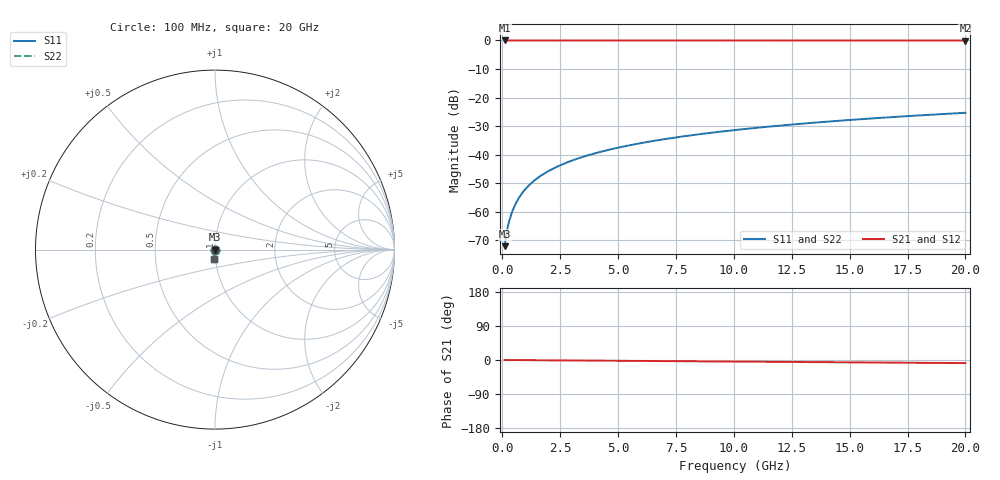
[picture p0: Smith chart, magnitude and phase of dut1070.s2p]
! Touchstone file exported from HFSS 2026.1.0
!  File:  C:/ffzhzh/LocalFiles/Ansys_Project_Files/temp_train_TSV_1070_1783189911_22436.aedt
!  Generated:  02:33:13 AM Jul  5, 2026
!  Design:  TSV
!  Project:  temp_train_TSV_1070_1783189911_22436
! Variables:
!  h_bsmrdl = 2um
!  h_ox = 20um
!  h_rdl = 5um
!  h_sub = 80.2um
!  h_tmrdl = 5um
!  h_tsv = 80.2um
!  h_via = 3um
!  l_bsmrdl = 300um
!  l_sub = 422.48um
!  l_tmrdl = 200um
!  m_sub = 200um
!  pitch = 32.34um
!  r_tsv = 11.24um
!  s_tmrdl = 10um
!  w_bsmrdl = 18um
!  w_sub = 500um
!  w_tmrdl = 12um
!  x_tsv_center1 = 206um
!  x_tsv_center2 = 524um
!  x_tsv_center3 = 736um
!  x_tsv_center4 = 1054um
!  x_tsv_center5 = 1266um
!  x_tsv_center6 = 1584um
# GHz S MA R 50.000000
! Terminal data exported
! Port[1] = TSV1_1_T1
! Port[2] = TSV1_1_T2
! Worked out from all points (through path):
!   200 points, 100 MHz to 20 GHz, reference 50 ohm
!   highest |S21| = 0.00 dB at 100 MHz (marker M1); lowest = 0.0 dB at 20 GHz (marker M2)
!   group delay of S21, straight-line fit = 1.14 ps
!   lowest |S11| = -72.1 dB at 100 MHz (marker M3), VSWR 1.00, Z = 50 - j0.022 ohm
!   |S11| at or under -10 dB: start of sweep to end of sweep
!   |S22| runs from -72.1 to -25.3 dB; largest |S21 - S12| = 3.7e-15
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0.1  0.0002491 -62.2  0.9999 -0.0  0.9999 -0.0  0.0002491 -62.2
! Gamma 0 0 0 0
! Port Impedance 50 0 50 0
0.2  0.0004642 -73.5  0.9999 -0.1  0.9999 -0.1  0.0004642 -73.5
0.3  0.0006946 -77.1  0.9998 -0.1  0.9998 -0.1  0.0006946 -77.1
0.4  0.0009352 -78.8  0.9998 -0.2  0.9998 -0.2  0.0009352 -78.8
0.5  0.001184 -79.9  0.9998 -0.2  0.9998 -0.2  0.001184 -79.9
0.7  0.001699 -81.3  0.9997 -0.3  0.9997 -0.3  0.001699 -81.3
0.8  0.001962 -81.9  0.9997 -0.3  0.9997 -0.3  0.001962 -81.9
1  0.002493 -82.9  0.9997 -0.4  0.9997 -0.4  0.002493 -82.9
1.2  0.003027 -83.7  0.9996 -0.5  0.9996 -0.5  0.003027 -83.7
1.4  0.003562 -84.4  0.9996 -0.6  0.9996 -0.6  0.003562 -84.4
1.7  0.004365 -85.3  0.9996 -0.7  0.9996 -0.7  0.004365 -85.3
2  0.005168 -85.9  0.9995 -0.8  0.9995 -0.8  0.005168 -85.9
2.7  0.007041 -87.1  0.9995 -1.1  0.9995 -1.1  0.007041 -87.1
3.5  0.009187 -87.9  0.9994 -1.5  0.9994 -1.5  0.009187 -87.9
4.2  0.01107 -88.6  0.9993 -1.7  0.9993 -1.7  0.01107 -88.6
5  0.01323 -89.1  0.9992 -2.1  0.9992 -2.1  0.01323 -89.1
6.8  0.01812 -90.3  0.999 -2.8  0.999 -2.8  0.01812 -90.3
8.3  0.0222 -91.1  0.9989 -3.4  0.9989 -3.4  0.0222 -91.1
10.1  0.0271 -92.1  0.9987 -4.2  0.9987 -4.2  0.0271 -92.1
13.4  0.0361 -93.7  0.9982 -5.5  0.9982 -5.5  0.0361 -93.7
16.7  0.04508 -95.3  0.9977 -6.8  0.9977 -6.8  0.04508 -95.3
20  0.05406 -96.7  0.9971 -8.2  0.9971 -8.2  0.05406 -96.7
